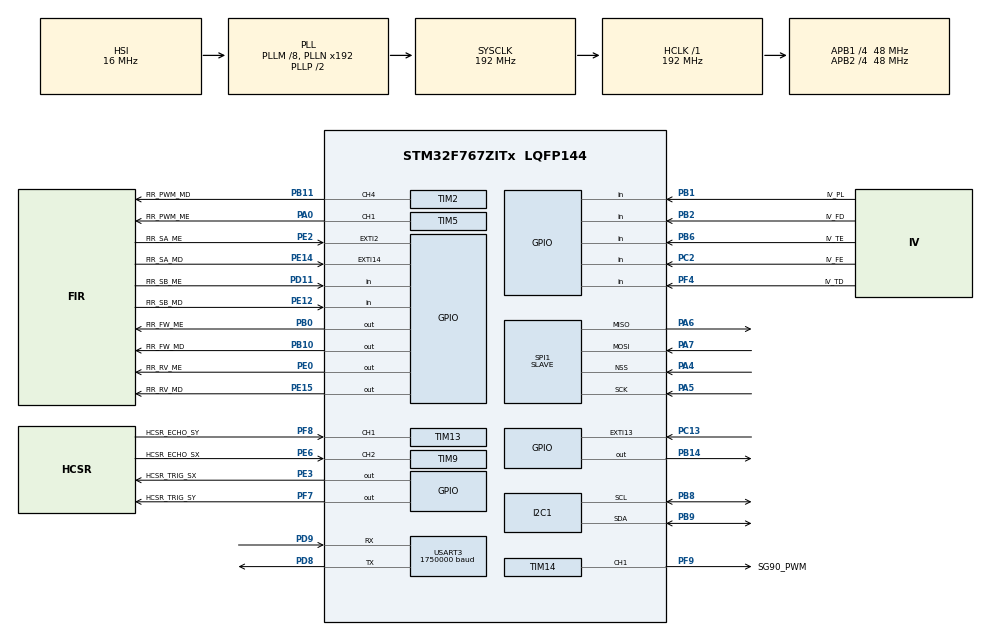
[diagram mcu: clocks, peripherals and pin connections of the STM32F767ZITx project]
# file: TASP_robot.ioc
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Dma.I2C1_RX.0.Direction=DMA_PERIPH_TO_MEMORY
Dma.I2C1_RX.0.FIFOMode=DMA_FIFOMODE_DISABLE
Dma.I2C1_RX.0.Instance=DMA1_Stream0
Dma.I2C1_RX.0.MemDataAlignment=DMA_MDATAALIGN_BYTE
Dma.I2C1_RX.0.MemInc=DMA_MINC_ENABLE
Dma.I2C1_RX.0.Mode=DMA_NORMAL
Dma.I2C1_RX.0.PeriphDataAlignment=DMA_PDATAALIGN_BYTE
Dma.I2C1_RX.0.PeriphInc=DMA_PINC_DISABLE
Dma.I2C1_RX.0.Priority=DMA_PRIORITY_LOW
Dma.I2C1_TX.1.Direction=DMA_MEMORY_TO_PERIPH
Dma.I2C1_TX.1.FIFOMode=DMA_FIFOMODE_DISABLE
Dma.I2C1_TX.1.Instance=DMA1_Stream6
Dma.I2C1_TX.1.MemDataAlignment=DMA_MDATAALIGN_BYTE
Dma.I2C1_TX.1.MemInc=DMA_MINC_ENABLE
Dma.I2C1_TX.1.Mode=DMA_NORMAL
Dma.I2C1_TX.1.PeriphDataAlignment=DMA_PDATAALIGN_BYTE
Dma.I2C1_TX.1.PeriphInc=DMA_PINC_DISABLE
Dma.I2C1_TX.1.Priority=DMA_PRIORITY_LOW
Dma.Request0=I2C1_RX
Dma.Request1=I2C1_TX
Dma.Request2=SPI1_RX
Dma.Request3=SPI1_TX
Dma.SPI1_RX.2.Direction=DMA_PERIPH_TO_MEMORY
Dma.SPI1_RX.2.FIFOMode=DMA_FIFOMODE_DISABLE
Dma.SPI1_RX.2.Instance=DMA2_Stream0
Dma.SPI1_RX.2.MemDataAlignment=DMA_MDATAALIGN_BYTE
Dma.SPI1_RX.2.MemInc=DMA_MINC_ENABLE
Dma.SPI1_RX.2.Mode=DMA_NORMAL
Dma.SPI1_RX.2.PeriphDataAlignment=DMA_PDATAALIGN_BYTE
Dma.SPI1_RX.2.PeriphInc=DMA_PINC_DISABLE
Dma.SPI1_RX.2.Priority=DMA_PRIORITY_LOW
Dma.SPI1_TX.3.Direction=DMA_MEMORY_TO_PERIPH
Dma.SPI1_TX.3.FIFOMode=DMA_FIFOMODE_DISABLE
Dma.SPI1_TX.3.Instance=DMA2_Stream3
Dma.SPI1_TX.3.MemDataAlignment=DMA_MDATAALIGN_BYTE
Dma.SPI1_TX.3.MemInc=DMA_MINC_ENABLE
Dma.SPI1_TX.3.Mode=DMA_NORMAL
Dma.SPI1_TX.3.PeriphDataAlignment=DMA_PDATAALIGN_BYTE
Dma.SPI1_TX.3.PeriphInc=DMA_PINC_DISABLE
Dma.SPI1_TX.3.Priority=DMA_PRIORITY_LOW
I2C1.Timing=0x20303E5D
Mcu.Family=STM32F7
Mcu.Name=STM32F767ZITx
Mcu.Package=LQFP144
NVIC.DMA1_Stream0_IRQn=true\:0\:0\:false\:false\:true\:false\:true
NVIC.DMA1_Stream6_IRQn=true\:0\:0\:false\:false\:true\:false\:true
NVIC.DMA2_Stream0_IRQn=true\:0\:0\:false\:false\:true\:false\:true
NVIC.DMA2_Stream3_IRQn=true\:0\:0\:false\:false\:true\:false\:true
NVIC.EXTI15_10_IRQn=true\:0\:0\:false\:false\:true\:true\:true
NVIC.EXTI2_IRQn=true\:0\:0\:false\:false\:true\:true\:true
NVIC.I2C1_EV_IRQn=true\:0\:0\:false\:false\:true\:true\:true
NVIC.PriorityGroup=NVIC_PRIORITYGROUP_4
NVIC.SPI1_IRQn=true\:0\:0\:false\:false\:true\:true\:true
NVIC.TIM1_BRK_TIM9_IRQn=true\:0\:0\:false\:false\:true\:true\:true
NVIC.TIM3_IRQn=true\:0\:0\:false\:false\:true\:true\:true
NVIC.TIM6_DAC_IRQn=true\:0\:0\:false\:false\:true\:true\:true
NVIC.TIM7_IRQn=true\:0\:0\:false\:false\:true\:true\:true
NVIC.TIM8_UP_TIM13_IRQn=true\:0\:0\:false\:false\:true\:true\:true
NVIC.USART3_IRQn=true\:0\:0\:true\:false\:true\:true\:true
PA0/WKUP.GPIO_Label=FIR_PWM_ME
PA0/WKUP.Signal=S_TIM5_CH1
PA4.Mode=NSS_Signal_Hard_Input
PA4.Signal=SPI1_NSS
PA5.Mode=Full_Duplex_Slave
PA5.Signal=SPI1_SCK
PA6.Mode=Full_Duplex_Slave
PA6.Signal=SPI1_MISO
PA7.Mode=Full_Duplex_Slave
PA7.Signal=SPI1_MOSI
PB0.GPIO_Label=FIR_FW_ME
PB0.Signal=GPIO_Output
PB1.GPIO_Label=IV_PL
PB1.Signal=GPIO_Input
PB10.GPIO_Label=FIR_FW_MD
PB10.Signal=GPIO_Output
PB11.GPIO_Label=FIR_PWM_MD
PB11.Signal=S_TIM2_CH4
PB14.Signal=GPIO_Output
PB2.GPIO_Label=IV_FD
PB2.Signal=GPIO_Input
PB6.GPIO_Label=IV_TE
PB6.Signal=GPIO_Input
PB8.GPIO_Pu=GPIO_PULLUP
PB8.Mode=I2C
PB8.Signal=I2C1_SCL
PB9.GPIO_Pu=GPIO_PULLUP
PB9.Mode=I2C
PB9.Signal=I2C1_SDA
PC13.Signal=GPXTI13
PC2.GPIO_Label=IV_FE
PC2.Signal=GPIO_Input
PD11.GPIO_Label=FIR_SB_ME
PD11.Signal=GPIO_Input
PD8.Mode=Asynchronous
PD8.Signal=USART3_TX
PD9.Mode=Asynchronous
PD9.Signal=USART3_RX
PE0.GPIO_Label=FIR_RV_ME
PE0.Signal=GPIO_Output
PE12.GPIO_Label=FIR_SB_MD
PE12.Signal=GPIO_Input
PE14.GPIO_Label=FIR_SA_MD
PE14.GPIO_ModeDefaultEXTI=GPIO_MODE_IT_RISING
PE14.Signal=GPXTI14
PE15.GPIO_Label=FIR_RV_MD
PE15.Signal=GPIO_Output
PE2.GPIO_Label=FIR_SA_ME
PE2.Signal=GPXTI2
PE3.GPIO_Label=HCSR_TRIG_SX
PE3.Signal=GPIO_Output
PE6.GPIO_Label=HCSR_ECHO_SX
PE6.Signal=S_TIM9_CH2
PF4.GPIO_Label=IV_TD
PF4.Signal=GPIO_Input
PF7.GPIO_Label=HCSR_TRIG_SY
PF7.Signal=GPIO_Output
PF8.GPIO_Label=HCSR_ECHO_SY
PF8.Signal=S_TIM13_CH1
PF9.GPIO_Label=SG90_PWM
PF9.Signal=S_TIM14_CH1
ProjectManager.HeapSize=0x200
ProjectManager.StackSize=0x400
ProjectManager.TargetToolchain=STM32CubeIDE
RCC.AHBFreq_Value=192000000
RCC.APB1CLKDivider=RCC_HCLK_DIV4
RCC.APB1Freq_Value=48000000
RCC.APB1TimFreq_Value=96000000
RCC.APB2CLKDivider=RCC_HCLK_DIV4
RCC.APB2Freq_Value=48000000
RCC.APB2TimFreq_Value=96000000
RCC.CortexFreq_Value=192000000
RCC.HCLKFreq_Value=192000000
RCC.HSE_VALUE=25000000
RCC.HSI_VALUE=16000000
RCC.LSE_VALUE=32768
RCC.PLLM=8
RCC.SYSCLKFreq_VALUE=192000000
RCC.SYSCLKSource=RCC_SYSCLKSOURCE_PLLCLK
RCC.USBFreq_Value=192000000
RCC.VCOOutputFreq_Value=384000000
SH.S_TIM13_CH1.0=TIM13_CH1,Input_Capture1_from_TI1
SH.S_TIM14_CH1.0=TIM14_CH1,PWM Generation1 CH1
SH.S_TIM2_CH4.0=TIM2_CH4,PWM Generation4 CH4
SH.S_TIM5_CH1.0=TIM5_CH1,PWM Generation1 CH1
SH.S_TIM9_CH2.0=TIM9_CH2,Input_Capture2_from_TI2
SPI1.DataSize=SPI_DATASIZE_8BIT
SPI1.Direction=SPI_DIRECTION_2LINES
SPI1.Mode=SPI_MODE_SLAVE
SPI1.VirtualNSS=VM_NSSHARD
SPI1.VirtualType=VM_SLAVE
TIM13.Channel=TIM_CHANNEL_1
TIM13.ICPolarity_CH1=TIM_INPUTCHANNELPOLARITY_BOTHEDGE
TIM13.Period=18000
TIM13.Prescaler=96-1
TIM14.Channel=TIM_CHANNEL_1
TIM14.Period=20000-1
TIM14.Prescaler=96-1
TIM2.Channel-PWM\ Generation4\ CH4=TIM_CHANNEL_4
TIM2.Period=2000-1
TIM2.Prescaler=96-1
TIM3.AutoReloadPreload=TIM_AUTORELOAD_PRELOAD_DISABLE
TIM3.Period=1000-1
TIM3.Prescaler=96-1
TIM5.Channel-PWM\ Generation1\ CH1=TIM_CHANNEL_1
TIM5.Period=2000-1
TIM5.Prescaler=96-1
TIM6.Period=96-1
TIM6.Prescaler=0
TIM7.Period=1000-1
TIM7.Prescaler=96-1
TIM9.Channel-Input_Capture2_from_TI2=TIM_CHANNEL_2
TIM9.ICPolarity_CH2=TIM_INPUTCHANNELPOLARITY_BOTHEDGE
TIM9.Period=18000
TIM9.Prescaler=96-1
USART3.BaudRate=1750000
USART3.VirtualMode-Asynchronous=VM_ASYNC
VP_TIM13_VS_ClockSourceINT.Mode=Enable_Timer
VP_TIM14_VS_ClockSourceINT.Mode=Enable_Timer
VP_TIM2_VS_ClockSourceINT.Mode=Internal
VP_TIM3_VS_ClockSourceINT.Mode=Internal
VP_TIM5_VS_ClockSourceINT.Mode=Internal
VP_TIM6_VS_ClockSourceINT.Mode=Enable_Timer
VP_TIM7_VS_ClockSourceINT.Mode=Enable_Timer
VP_TIM9_VS_ClockSourceINT.Mode=Internal
board=custom

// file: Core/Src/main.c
/* USER CODE BEGIN Header */
/**
  ******************************************************************************
  * @file           : main.c
  * @brief          : Main program body
  ******************************************************************************
  * @attention
  *
  * Copyright (c) 2022 STMicroelectronics.
  * All rights reserved.
  *
  * This software is licensed under terms that can be found in the LICENSE file
  * in the root directory of this software component.
  * If no LICENSE file comes with this software, it is provided AS-IS.
  *
  ******************************************************************************
  */

/* USER CODE END Header */
#include "main.h"
#include "dma.h"
#include "i2c.h"
#include "spi.h"
#include "tim.h"
#include "usart.h"
#include "gpio.h"

/* USER CODE BEGIN Includes */
#include "main.h"
#include "dma.h"
#include "i2c.h"
#include "spi.h"
#include "spiio.h"
#include "tim.h"
#include "usart.h"
#include "gpio.h"
#include "hmi.h"
/* USER CODE END Includes */

void SystemClock_Config(void);

int main(void)
{

  /* MCU Configuration--------------------------------------------------------*/

  /* Reset of all peripherals, Initializes the Flash interface and the Systick. */
  HAL_Init();

  /* Configure the system clock */
  SystemClock_Config();

  /* Initialize all configured peripherals */
  MX_TIM3_Init();
  MX_GPIO_Init();
  MX_USART3_UART_Init();
  MX_TIM2_Init();
  MX_TIM5_Init();
  MX_TIM9_Init();
  MX_TIM13_Init();
  MX_DMA_Init();
  MX_TIM7_Init();
  MX_I2C1_Init();
  MX_TIM6_Init();
  MX_TIM14_Init();
  MX_SPI1_Init();
  /* USER CODE BEGIN 2 */

  HAL_UART_Receive_IT(&huart3, UART_RX_buffer, 1);
  send_UART(PROMPT);

  int angulo = 0, diff_pixeis = 0;
  char cor[010] = "";

  set_Kh('.');
  FIR_set_ref(4.2, 'S', 'L');
  FIR_set_ref(4.2, 'S', 'R');

  SG90_set_ref(5);
  SG90_start();

  //lcd_init();
  //lcd_write_pos_1602(0, 0, "TASP_ROBOT");
  resetspirx();

  HAL_TIM_Base_Start_IT(&htim7);

  /* USER CODE END 2 */

  /* Infinite loop */
  /* USER CODE BEGIN WHILE */

  while (1)
  {
	  if(getcmdreceived())
	  {
		  sscanf(getspirxptr(),"%d:%s %d;",&angulo,cor,&diff_pixeis);
		  resetspirx();
		  HAL_GPIO_TogglePin(GPIOB, GPIO_PIN_14);

		  set_px(diff_pixeis);
		  set_ang(angulo);
		  ISR_PID_angle();

		  char str[] = "None";
		  if(strncmp(cor, str, 4))
		  {
			  FIR_stop();
			  rise();
		  }
	  }

		if(has_message_from_UART())
		{
		  uint8_t message[BUFFER_SIZE];

		  read_UART((char*) message);

		  unsigned char cmd = check_command((char*) message);
		  exec_command[cmd]((char*) message);

		  while(is_transmitting_to_UART());

		  reset_UART();
		  send_UART(PROMPT);
		}
  }
  /* USER CODE END 3 */
}

void SystemClock_Config(void)
{
  RCC_OscInitTypeDef RCC_OscInitStruct = {0};
  RCC_ClkInitTypeDef RCC_ClkInitStruct = {0};

  /** Configure the main internal regulator output voltage
  */
  __HAL_RCC_PWR_CLK_ENABLE();
  __HAL_PWR_VOLTAGESCALING_CONFIG(PWR_REGULATOR_VOLTAGE_SCALE1);
  /** Initializes the RCC Oscillators according to the specified parameters
  * in the RCC_OscInitTypeDef structure.
  */
  RCC_OscInitStruct.OscillatorType = RCC_OSCILLATORTYPE_HSI;
  RCC_OscInitStruct.HSIState = RCC_HSI_ON;
  RCC_OscInitStruct.HSICalibrationValue = RCC_HSICALIBRATION_DEFAULT;
  RCC_OscInitStruct.PLL.PLLState = RCC_PLL_ON;
  RCC_OscInitStruct.PLL.PLLSource = RCC_PLLSOURCE_HSI;
  RCC_OscInitStruct.PLL.PLLM = 8;
  RCC_OscInitStruct.PLL.PLLN = 192;
  RCC_OscInitStruct.PLL.PLLP = RCC_PLLP_DIV2;
  RCC_OscInitStruct.PLL.PLLQ = 2;
  RCC_OscInitStruct.PLL.PLLR = 2;
  if (HAL_RCC_OscConfig(&RCC_OscInitStruct) != HAL_OK)
  {
    Error_Handler();
  }
  /** Activate the Over-Drive mode
  */
  if (HAL_PWREx_EnableOverDrive() != HAL_OK)
  {
    Error_Handler();
  }
  /** Initializes the CPU, AHB and APB buses clocks
  */
  RCC_ClkInitStruct.ClockType = RCC_CLOCKTYPE_HCLK|RCC_CLOCKTYPE_SYSCLK
                              |RCC_CLOCKTYPE_PCLK1|RCC_CLOCKTYPE_PCLK2;
  RCC_ClkInitStruct.SYSCLKSource = RCC_SYSCLKSOURCE_PLLCLK;
  RCC_ClkInitStruct.AHBCLKDivider = RCC_SYSCLK_DIV1;
  RCC_ClkInitStruct.APB1CLKDivider = RCC_HCLK_DIV4;
  RCC_ClkInitStruct.APB2CLKDivider = RCC_HCLK_DIV4;

  if (HAL_RCC_ClockConfig(&RCC_ClkInitStruct, FLASH_LATENCY_6) != HAL_OK)
  {
    Error_Handler();
  }
}

void Error_Handler(void)
{
  __disable_irq();
  while (1)
  {
  }
}
